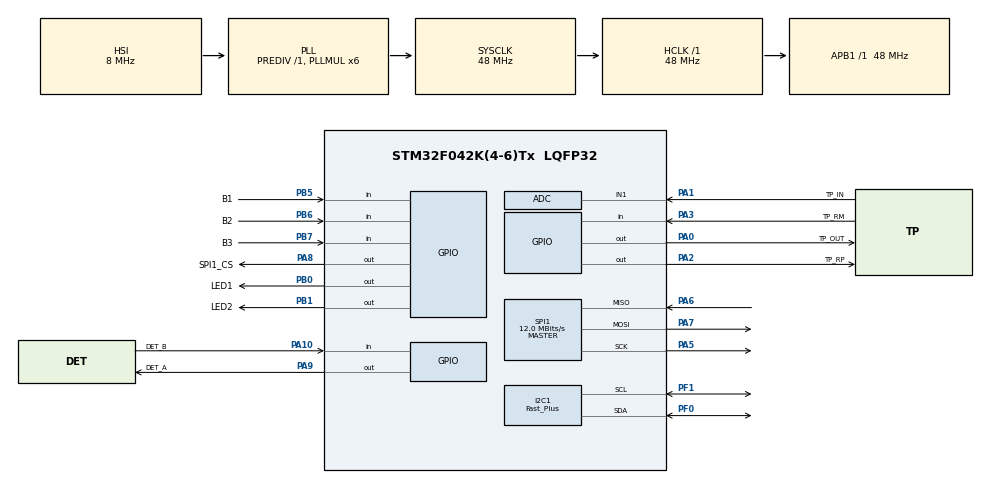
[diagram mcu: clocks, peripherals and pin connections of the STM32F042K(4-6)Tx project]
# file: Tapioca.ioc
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ADC.Resolution=ADC_RESOLUTION_12B
FATFS._FS_LOCK=1
FATFS._FS_RPATH=1
FATFS._FS_TINY=0
FATFS._MAX_LFN=64
FATFS._USE_FASTSEEK=0
FATFS._USE_LFN=1
FATFS._USE_MKFS=0
FATFS._USE_STRFUNC=0
I2C1.Analog_Filter=I2C_ANALOGFILTER_DISABLE
I2C1.I2C_Speed_Mode=I2C_Fast_Plus
I2C1.Timing=0x00000002
Mcu.Family=STM32F0
Mcu.Name=STM32F042K(4-6)Tx
Mcu.Package=LQFP32
NVIC.ADC1_IRQn=true\:0\:0\:false\:false\:true\:true
NVIC.TIM2_IRQn=true\:0\:0\:false\:false\:true\:true
PA0.GPIO_Label=TP_OUT
PA0.GPIO_ModeDefaultOutputPP=GPIO_MODE_OUTPUT_PP
PA0.GPIO_PuPd=GPIO_NOPULL
PA0.GPIO_Speed=GPIO_SPEED_FREQ_LOW
PA0.PinState=GPIO_PIN_RESET
PA0.Signal=GPIO_Output
PA1.GPIO_Label=TP_IN
PA1.Signal=SharedAnalog_PA1
PA10.GPIO_Label=DET_B
PA10.GPIO_PuPd=GPIO_PULLUP
PA10.Signal=GPIO_Input
PA2.GPIO_Label=TP_RP
PA2.Signal=GPIO_Output
PA3.GPIO_Label=TP_RM
PA3.GPIO_PuPd=GPIO_PULLUP
PA3.Signal=GPIO_Input
PA5.GPIO_Mode=GPIO_MODE_AF_PP
PA5.GPIO_PuPd=GPIO_NOPULL
PA5.GPIO_Speed=GPIO_SPEED_FREQ_HIGH
PA5.Mode=Full_Duplex_Master
PA5.Signal=SPI1_SCK
PA6.GPIO_Mode=GPIO_MODE_AF_PP
PA6.GPIO_PuPd=GPIO_NOPULL
PA6.GPIO_Speed=GPIO_SPEED_FREQ_HIGH
PA6.Mode=Full_Duplex_Master
PA6.Signal=SPI1_MISO
PA7.GPIO_Mode=GPIO_MODE_AF_PP
PA7.GPIO_PuPd=GPIO_NOPULL
PA7.GPIO_Speed=GPIO_SPEED_FREQ_HIGH
PA7.Mode=Full_Duplex_Master
PA7.Signal=SPI1_MOSI
PA8.GPIO_Label=SPI1_CS
PA8.GPIO_ModeDefaultOutputPP=GPIO_MODE_OUTPUT_PP
PA8.GPIO_PuPd=GPIO_NOPULL
PA8.GPIO_Speed=GPIO_SPEED_FREQ_LOW
PA8.PinState=GPIO_PIN_RESET
PA8.Signal=GPIO_Output
PA9.GPIO_Label=DET_A
PA9.Signal=GPIO_Output
PB0.GPIO_Label=LED1
PB0.Signal=GPIO_Output
PB1.GPIO_Label=LED2
PB1.Signal=GPIO_Output
PB5.GPIO_Label=B1
PB5.GPIO_PuPd=GPIO_PULLUP
PB5.Signal=GPIO_Input
PB6.GPIO_Label=B2
PB6.GPIO_PuPd=GPIO_PULLUP
PB6.Signal=GPIO_Input
PB7.GPIO_Label=B3
PB7.GPIO_PuPd=GPIO_PULLUP
PB7.Signal=GPIO_Input
PF0-OSC_IN.GPIO_Mode=GPIO_MODE_AF_OD
PF0-OSC_IN.GPIO_PuPdOD=GPIO_PULLUP
PF0-OSC_IN.GPIO_Speed=GPIO_SPEED_FREQ_HIGH
PF0-OSC_IN.Mode=I2C
PF0-OSC_IN.Signal=I2C1_SDA
PF1-OSC_OUT.GPIO_Mode=GPIO_MODE_AF_OD
PF1-OSC_OUT.GPIO_PuPdOD=GPIO_PULLUP
PF1-OSC_OUT.GPIO_Speed=GPIO_SPEED_FREQ_HIGH
PF1-OSC_OUT.Mode=I2C
PF1-OSC_OUT.Signal=I2C1_SCL
ProjectManager.HeapSize=0x100
ProjectManager.StackSize=0x200
ProjectManager.TargetToolchain=SW4STM32
RCC.AHBFreq_Value=48000000
RCC.APB1Freq_Value=48000000
RCC.APB1TimFreq_Value=48000000
RCC.HCLKFreq_Value=48000000
RCC.PLLMUL=RCC_PLL_MUL6
RCC.SYSCLKFreq_VALUE=48000000
RCC.SYSCLKSource=RCC_SYSCLKSOURCE_PLLCLK
SH.SharedAnalog_PA1.0=GPIO_Analog
SH.SharedAnalog_PA1.1=ADC_IN1,IN1
SPI1.BaudRatePrescaler=SPI_BAUDRATEPRESCALER_4
SPI1.CalculateBaudRate=12.0 MBits/s
SPI1.DataSize=SPI_DATASIZE_8BIT
SPI1.Direction=SPI_DIRECTION_2LINES
SPI1.Mode=SPI_MODE_MASTER
SPI1.VirtualType=VM_MASTER
TIM2.AutoReloadPreload=TIM_AUTORELOAD_PRELOAD_ENABLE
TIM2.Period=432
TIM2.Prescaler=0
VP_FATFS_VS_Generic.Mode=User_defined
VP_IWDG_VS_IWDG.Mode=IWDG_Activate
VP_TIM2_VS_ClockSourceINT.Mode=Internal
board=custom

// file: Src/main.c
/* USER CODE BEGIN Header */
/**
  ******************************************************************************
  * @file           : main.c
  * @brief          : Main program body
  ******************************************************************************
  * This notice applies to any and all portions of this file
  * that are not between comment pairs USER CODE BEGIN and
  * USER CODE END. Other portions of this file, whether
  * inserted by the user or by software development tools
  * are owned by their respective copyright owners.
  *
  * Copyright (c) 2020 STMicroelectronics International N.V.
  * All rights reserved.
  *
  * Redistribution and use in source and binary forms, with or without
  * modification, are permitted, provided that the following conditions are met:
  *
  * 1. Redistribution of source code must retain the above copyright notice,
  *    this list of conditions and the following disclaimer.
  * 2. Redistributions in binary form must reproduce the above copyright notice,
  *    this list of conditions and the following disclaimer in the documentation
  *    and/or other materials provided with the distribution.
  * 3. Neither the name of STMicroelectronics nor the names of other
  *    contributors to this software may be used to endorse or promote products
  *    derived from this software without specific written permission.
  * 4. This software, including modifications and/or derivative works of this
  *    software, must execute solely and exclusively on microcontroller or
  *    microprocessor devices manufactured by or for STMicroelectronics.
  * 5. Redistribution and use of this software other than as permitted under
  *    this license is void and will automatically terminate your rights under
  *    this license.
  *
  * THIS SOFTWARE IS PROVIDED BY STMICROELECTRONICS AND CONTRIBUTORS "AS IS"
  * AND ANY EXPRESS, IMPLIED OR STATUTORY WARRANTIES, INCLUDING, BUT NOT
  * LIMITED TO, THE IMPLIED WARRANTIES OF MERCHANTABILITY, FITNESS FOR A
  * PARTICULAR PURPOSE AND NON-INFRINGEMENT OF THIRD PARTY INTELLECTUAL PROPERTY
  * RIGHTS ARE DISCLAIMED TO THE FULLEST EXTENT PERMITTED BY LAW. IN NO EVENT
  * SHALL STMICROELECTRONICS OR CONTRIBUTORS BE LIABLE FOR ANY DIRECT, INDIRECT,
  * INCIDENTAL, SPECIAL, EXEMPLARY, OR CONSEQUENTIAL DAMAGES (INCLUDING, BUT NOT
  * LIMITED TO, PROCUREMENT OF SUBSTITUTE GOODS OR SERVICES; LOSS OF USE, DATA,
  * OR PROFITS; OR BUSINESS INTERRUPTION) HOWEVER CAUSED AND ON ANY THEORY OF
  * LIABILITY, WHETHER IN CONTRACT, STRICT LIABILITY, OR TORT (INCLUDING
  * NEGLIGENCE OR OTHERWISE) ARISING IN ANY WAY OUT OF THE USE OF THIS SOFTWARE,
  * EVEN IF ADVISED OF THE POSSIBILITY OF SUCH DAMAGE.
  *
  ******************************************************************************
  */
/* USER CODE END Header */

#include "main.h"
#include "fatfs.h"

/* USER CODE BEGIN Includes */
#include "fatfs.h"
#include "file.h"
#include "tape.h"
#include "ui.h"
/* USER CODE END Includes */

/* USER CODE BEGIN PTD */

#if defined(USE_RDIMON)
extern void initialise_monitor_handles();
#endif

/* USER CODE END PTD */

ADC_HandleTypeDef hadc;

I2C_HandleTypeDef hi2c1;

IWDG_HandleTypeDef hiwdg;

SPI_HandleTypeDef hspi1;

TIM_HandleTypeDef htim2;

void SystemClock_Config(void);
static void MX_GPIO_Init(void);
static void MX_I2C1_Init(void);
static void MX_SPI1_Init(void);
static void MX_TIM2_Init(void);
static void MX_ADC_Init(void);
static void MX_IWDG_Init(void);

/* USER CODE BEGIN 0 */

void HAL_TIM_PeriodElapsedCallback(TIM_HandleTypeDef *htim) {
  static int signal = GPIO_PIN_RESET;
  HAL_GPIO_WritePin(TP_OUT_GPIO_Port, TP_OUT_Pin, signal);
  signal = file_get_signal() ? GPIO_PIN_SET : GPIO_PIN_RESET;
}
/* USER CODE END 0 */

int main(void)
{
  /* USER CODE BEGIN 1 */
#if defined(USE_RDIMON)
  initialise_monitor_handles();
#endif
  /* USER CODE END 1 */

  /* MCU Configuration--------------------------------------------------------*/

  /* Reset of all peripherals, Initializes the Flash interface and the Systick. */
  HAL_Init();

  /* Configure the system clock */
  SystemClock_Config();

  /* Initialize all configured peripherals */
  MX_GPIO_Init();
  MX_FATFS_Init();
  MX_I2C1_Init();
  MX_SPI1_Init();
  MX_TIM2_Init();
  MX_ADC_Init();
  MX_IWDG_Init();
  /* USER CODE BEGIN 2 */

  ui_init();
  tape_init();
  HAL_ADCEx_Calibration_Start(&hadc);
  HAL_TIM_Base_Start_IT(&htim2);

  /* USER CODE END 2 */

  /* Infinite loop */
  /* USER CODE BEGIN WHILE */
  while (1)
  {
    uint32_t tick = HAL_GetTick() + 25;
    HAL_IWDG_Refresh(&hiwdg);
    ui_sync();
    do {
      HAL_IWDG_Refresh(&hiwdg);
      ui_idle();
    } while (HAL_GetTick() < tick);
    /* USER CODE END WHILE */

  }
}

void SystemClock_Config(void)
{
  RCC_OscInitTypeDef RCC_OscInitStruct = {0};
  RCC_ClkInitTypeDef RCC_ClkInitStruct = {0};
  RCC_PeriphCLKInitTypeDef PeriphClkInit = {0};

  /**Initializes the CPU, AHB and APB busses clocks
  */
  RCC_OscInitStruct.OscillatorType = RCC_OSCILLATORTYPE_HSI|RCC_OSCILLATORTYPE_HSI14
                              |RCC_OSCILLATORTYPE_LSI;
  RCC_OscInitStruct.HSIState = RCC_HSI_ON;
  RCC_OscInitStruct.HSI14State = RCC_HSI14_ON;
  RCC_OscInitStruct.HSICalibrationValue = RCC_HSICALIBRATION_DEFAULT;
  RCC_OscInitStruct.HSI14CalibrationValue = 16;
  RCC_OscInitStruct.LSIState = RCC_LSI_ON;
  RCC_OscInitStruct.PLL.PLLState = RCC_PLL_ON;
  RCC_OscInitStruct.PLL.PLLSource = RCC_PLLSOURCE_HSI;
  RCC_OscInitStruct.PLL.PLLMUL = RCC_PLL_MUL6;
  RCC_OscInitStruct.PLL.PREDIV = RCC_PREDIV_DIV1;
  if (HAL_RCC_OscConfig(&RCC_OscInitStruct) != HAL_OK)
  {
    Error_Handler();
  }
  /**Initializes the CPU, AHB and APB busses clocks
  */
  RCC_ClkInitStruct.ClockType = RCC_CLOCKTYPE_HCLK|RCC_CLOCKTYPE_SYSCLK
                              |RCC_CLOCKTYPE_PCLK1;
  RCC_ClkInitStruct.SYSCLKSource = RCC_SYSCLKSOURCE_PLLCLK;
  RCC_ClkInitStruct.AHBCLKDivider = RCC_SYSCLK_DIV1;
  RCC_ClkInitStruct.APB1CLKDivider = RCC_HCLK_DIV1;

  if (HAL_RCC_ClockConfig(&RCC_ClkInitStruct, FLASH_LATENCY_1) != HAL_OK)
  {
    Error_Handler();
  }
  PeriphClkInit.PeriphClockSelection = RCC_PERIPHCLK_I2C1;
  PeriphClkInit.I2c1ClockSelection = RCC_I2C1CLKSOURCE_HSI;
  if (HAL_RCCEx_PeriphCLKConfig(&PeriphClkInit) != HAL_OK)
  {
    Error_Handler();
  }
}

static void MX_ADC_Init(void)
{

  ADC_ChannelConfTypeDef sConfig = {0};

  /**Configure the global features of the ADC (Clock, Resolution, Data Alignment and number of conversion)
  */
  hadc.Instance = ADC1;
  hadc.Init.ClockPrescaler = ADC_CLOCK_ASYNC_DIV1;
  hadc.Init.Resolution = ADC_RESOLUTION_12B;
  hadc.Init.DataAlign = ADC_DATAALIGN_RIGHT;
  hadc.Init.ScanConvMode = ADC_SCAN_DIRECTION_FORWARD;
  hadc.Init.EOCSelection = ADC_EOC_SINGLE_CONV;
  hadc.Init.LowPowerAutoWait = DISABLE;
  hadc.Init.LowPowerAutoPowerOff = DISABLE;
  hadc.Init.ContinuousConvMode = DISABLE;
  hadc.Init.DiscontinuousConvMode = DISABLE;
  hadc.Init.ExternalTrigConv = ADC_SOFTWARE_START;
  hadc.Init.ExternalTrigConvEdge = ADC_EXTERNALTRIGCONVEDGE_NONE;
  hadc.Init.DMAContinuousRequests = DISABLE;
  hadc.Init.Overrun = ADC_OVR_DATA_PRESERVED;
  if (HAL_ADC_Init(&hadc) != HAL_OK)
  {
    Error_Handler();
  }
  /**Configure for the selected ADC regular channel to be converted.
  */
  sConfig.Channel = ADC_CHANNEL_1;
  sConfig.Rank = ADC_RANK_CHANNEL_NUMBER;
  sConfig.SamplingTime = ADC_SAMPLETIME_1CYCLE_5;
  if (HAL_ADC_ConfigChannel(&hadc, &sConfig) != HAL_OK)
  {
    Error_Handler();
  }

}

static void MX_I2C1_Init(void)
{

  hi2c1.Instance = I2C1;
  hi2c1.Init.Timing = 0x00000002;
  hi2c1.Init.OwnAddress1 = 0;
  hi2c1.Init.AddressingMode = I2C_ADDRESSINGMODE_7BIT;
  hi2c1.Init.DualAddressMode = I2C_DUALADDRESS_DISABLE;
  hi2c1.Init.OwnAddress2 = 0;
  hi2c1.Init.OwnAddress2Masks = I2C_OA2_NOMASK;
  hi2c1.Init.GeneralCallMode = I2C_GENERALCALL_DISABLE;
  hi2c1.Init.NoStretchMode = I2C_NOSTRETCH_DISABLE;
  if (HAL_I2C_Init(&hi2c1) != HAL_OK)
  {
    Error_Handler();
  }
  /**Configure Analogue filter
  */
  if (HAL_I2CEx_ConfigAnalogFilter(&hi2c1, I2C_ANALOGFILTER_DISABLE) != HAL_OK)
  {
    Error_Handler();
  }
  /**Configure Digital filter
  */
  if (HAL_I2CEx_ConfigDigitalFilter(&hi2c1, 0) != HAL_OK)
  {
    Error_Handler();
  }
  /**I2C Fast mode Plus enable
  */
  __HAL_SYSCFG_FASTMODEPLUS_ENABLE(I2C_FASTMODEPLUS_I2C1);

}

static void MX_IWDG_Init(void)
{

  hiwdg.Instance = IWDG;
  hiwdg.Init.Prescaler = IWDG_PRESCALER_4;
  hiwdg.Init.Window = 4095;
  hiwdg.Init.Reload = 4095;
  if (HAL_IWDG_Init(&hiwdg) != HAL_OK)
  {
    Error_Handler();
  }

}

static void MX_SPI1_Init(void)
{

  /* SPI1 parameter configuration*/
  hspi1.Instance = SPI1;
  hspi1.Init.Mode = SPI_MODE_MASTER;
  hspi1.Init.Direction = SPI_DIRECTION_2LINES;
  hspi1.Init.DataSize = SPI_DATASIZE_8BIT;
  hspi1.Init.CLKPolarity = SPI_POLARITY_LOW;
  hspi1.Init.CLKPhase = SPI_PHASE_1EDGE;
  hspi1.Init.NSS = SPI_NSS_SOFT;
  hspi1.Init.BaudRatePrescaler = SPI_BAUDRATEPRESCALER_4;
  hspi1.Init.FirstBit = SPI_FIRSTBIT_MSB;
  hspi1.Init.TIMode = SPI_TIMODE_DISABLE;
  hspi1.Init.CRCCalculation = SPI_CRCCALCULATION_DISABLE;
  hspi1.Init.CRCPolynomial = 7;
  hspi1.Init.CRCLength = SPI_CRC_LENGTH_DATASIZE;
  hspi1.Init.NSSPMode = SPI_NSS_PULSE_ENABLE;
  if (HAL_SPI_Init(&hspi1) != HAL_OK)
  {
    Error_Handler();
  }

}

static void MX_TIM2_Init(void)
{

  TIM_ClockConfigTypeDef sClockSourceConfig = {0};
  TIM_MasterConfigTypeDef sMasterConfig = {0};

  htim2.Instance = TIM2;
  htim2.Init.Prescaler = 0;
  htim2.Init.CounterMode = TIM_COUNTERMODE_UP;
  htim2.Init.Period = 432;
  htim2.Init.ClockDivision = TIM_CLOCKDIVISION_DIV1;
  htim2.Init.AutoReloadPreload = TIM_AUTORELOAD_PRELOAD_ENABLE;
  if (HAL_TIM_Base_Init(&htim2) != HAL_OK)
  {
    Error_Handler();
  }
  sClockSourceConfig.ClockSource = TIM_CLOCKSOURCE_INTERNAL;
  if (HAL_TIM_ConfigClockSource(&htim2, &sClockSourceConfig) != HAL_OK)
  {
    Error_Handler();
  }
  sMasterConfig.MasterOutputTrigger = TIM_TRGO_RESET;
  sMasterConfig.MasterSlaveMode = TIM_MASTERSLAVEMODE_DISABLE;
  if (HAL_TIMEx_MasterConfigSynchronization(&htim2, &sMasterConfig) != HAL_OK)
  {
    Error_Handler();
  }

}

static void MX_GPIO_Init(void)
{
  GPIO_InitTypeDef GPIO_InitStruct = {0};

  /* GPIO Ports Clock Enable */
  __HAL_RCC_GPIOF_CLK_ENABLE();
  __HAL_RCC_GPIOA_CLK_ENABLE();
  __HAL_RCC_GPIOB_CLK_ENABLE();

  /*Configure GPIO pin Output Level */
  HAL_GPIO_WritePin(GPIOA, TP_OUT_Pin|TP_RP_Pin|SPI1_CS_Pin|DET_A_Pin, GPIO_PIN_RESET);

  /*Configure GPIO pin Output Level */
  HAL_GPIO_WritePin(GPIOB, LED1_Pin|LED2_Pin, GPIO_PIN_RESET);

  /*Configure GPIO pins : TP_OUT_Pin TP_RP_Pin SPI1_CS_Pin DET_A_Pin */
  GPIO_InitStruct.Pin = TP_OUT_Pin|TP_RP_Pin|SPI1_CS_Pin|DET_A_Pin;
  GPIO_InitStruct.Mode = GPIO_MODE_OUTPUT_PP;
  GPIO_InitStruct.Pull = GPIO_NOPULL;
  GPIO_InitStruct.Speed = GPIO_SPEED_FREQ_LOW;
  HAL_GPIO_Init(GPIOA, &GPIO_InitStruct);

  /*Configure GPIO pin : TP_IN_Pin */
  GPIO_InitStruct.Pin = TP_IN_Pin;
  GPIO_InitStruct.Mode = GPIO_MODE_ANALOG;
  GPIO_InitStruct.Pull = GPIO_NOPULL;
  HAL_GPIO_Init(TP_IN_GPIO_Port, &GPIO_InitStruct);

  /*Configure GPIO pins : TP_RM_Pin DET_B_Pin */
  GPIO_InitStruct.Pin = TP_RM_Pin|DET_B_Pin;
  GPIO_InitStruct.Mode = GPIO_MODE_INPUT;
  GPIO_InitStruct.Pull = GPIO_PULLUP;
  HAL_GPIO_Init(GPIOA, &GPIO_InitStruct);

  /*Configure GPIO pins : LED1_Pin LED2_Pin */
  GPIO_InitStruct.Pin = LED1_Pin|LED2_Pin;
  GPIO_InitStruct.Mode = GPIO_MODE_OUTPUT_PP;
  GPIO_InitStruct.Pull = GPIO_NOPULL;
  GPIO_InitStruct.Speed = GPIO_SPEED_FREQ_LOW;
  HAL_GPIO_Init(GPIOB, &GPIO_InitStruct);

  /*Configure GPIO pins : B1_Pin B2_Pin B3_Pin */
  GPIO_InitStruct.Pin = B1_Pin|B2_Pin|B3_Pin;
  GPIO_InitStruct.Mode = GPIO_MODE_INPUT;
  GPIO_InitStruct.Pull = GPIO_PULLUP;
  HAL_GPIO_Init(GPIOB, &GPIO_InitStruct);

}

void Error_Handler(void)
{
}

/************************ (C) COPYRIGHT STMicroelectronics *****END OF FILE****/
